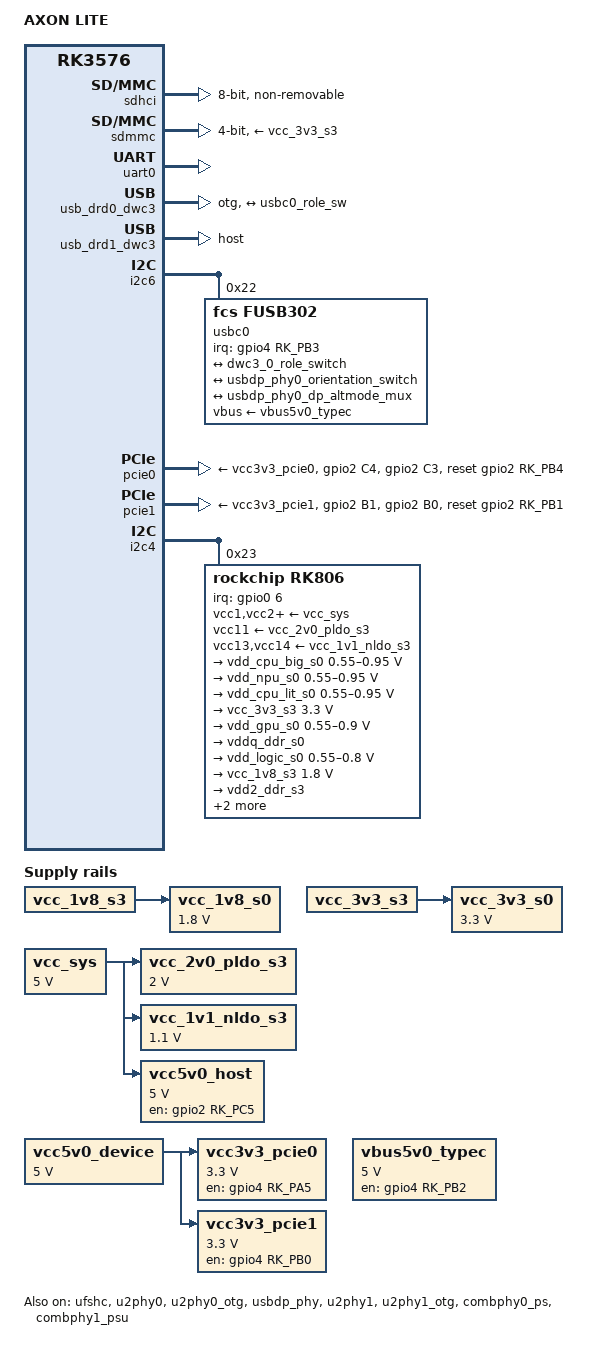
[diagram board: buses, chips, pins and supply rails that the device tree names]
// SPDX-License-Identifier: (GPL-2.0+ OR MIT)
/*
 * Copyright (c) 2026, Vicharak Computers PVT LTD.
 */

/dts-v1/;
#include <dt-bindings/gpio/gpio.h>
#include <dt-bindings/pinctrl/rockchip.h>
#include <dt-bindings/usb/pd.h>
#include "rk3576.dtsi"

/ {
	model = "AXON LITE";
	compatible = "vicharak,rk3576-axon-lite", "rockchip,rk3576";

	aliases {
		mmc0 = &sdhci;
		mmc1 = &sdmmc;
	};

	chosen {
		stdout-path = "serial0:1500000n8";
	};

	vcc_sys: vcc5v0-sys {
		compatible = "regulator-fixed";
		regulator-name = "vcc_sys";
		regulator-always-on;
		regulator-boot-on;
		regulator-min-microvolt = <5000000>;
		regulator-max-microvolt = <5000000>;
	};

	vcc_2v0_pldo_s3: vcc-2v0-pldo-s3 {
		compatible = "regulator-fixed";
		regulator-name = "vcc_2v0_pldo_s3";
		regulator-boot-on;
		regulator-always-on;
		regulator-min-microvolt = <2000000>;
		regulator-max-microvolt = <2000000>;
		vin-supply = <&vcc_sys>;
	};

	vcc_1v1_nldo_s3: vcc-1v1-nldo-s3 {
		compatible = "regulator-fixed";
		regulator-name = "vcc_1v1_nldo_s3";
		regulator-boot-on;
		regulator-always-on;
		regulator-min-microvolt = <1100000>;
		regulator-max-microvolt = <1100000>;
		vin-supply = <&vcc_sys>;
	};

	vcc_1v8_s0: vcc-1v8-s0 {
		compatible = "regulator-fixed";
		regulator-name = "vcc_1v8_s0";
		regulator-boot-on;
		regulator-always-on;
		regulator-min-microvolt = <1800000>;
		regulator-max-microvolt = <1800000>;
		vin-supply = <&vcc_1v8_s3>;
	};

	vcc_3v3_s0: vcc-3v3-s0 {
		compatible = "regulator-fixed";
		regulator-name = "vcc_3v3_s0";
		regulator-boot-on;
		regulator-always-on;
		regulator-min-microvolt = <3300000>;
		regulator-max-microvolt = <3300000>;
		vin-supply = <&vcc_3v3_s3>;
	};

	vcc5v0_host: vcc5v0-host {
		compatible = "regulator-fixed";
		regulator-name = "vcc5v0_host";
		regulator-boot-on;
		regulator-always-on;
		regulator-min-microvolt = <5000000>;
		regulator-max-microvolt = <5000000>;
		enable-active-high;
		gpio = <&gpio2 RK_PC5 GPIO_ACTIVE_HIGH>;
		pinctrl-names = "default";
		pinctrl-0 = <&usb_host_pwren>;
		vin-supply = <&vcc_sys>;
	};
	
	vcc5v0_device: vc5v0-device {
		compatible = "regulator-fixed";
		regulator-name = "vcc5v0_device";
		regulator-boot-on;
		regulator-always-on;
		regulator-min-microvolt = <5000000>;
		regulator-max-microvolt = <5000000>;
	};

	vcc3v3_pcie0: vcc3v3-pcie0 {
		compatible = "regulator-fixed";
		regulator-name = "vcc3v3_pcie0";
		regulator-min-microvolt = <3300000>;
		regulator-max-microvolt = <3300000>;
		enable-active-high;
		gpios = <&gpio4 RK_PA5 GPIO_ACTIVE_HIGH>;
		regulator-boot-on;
		regulator-always-on;
		vin-supply = <&vcc5v0_device>;

    };

	vcc3v3_pcie1: vcc3v3-pcie1 {
		compatible = "regulator-fixed";
		regulator-name = "vcc3v3_pcie1";
		regulator-min-microvolt = <3300000>;
		regulator-max-microvolt = <3300000>;
		enable-active-high;
		gpios = <&gpio4 RK_PB0 GPIO_ACTIVE_HIGH>;
		regulator-boot-on;
		regulator-always-on;
		vin-supply = <&vcc5v0_device>;
	};

	vbus5v0_typec: vbus5v0-typec {
		compatible = "regulator-fixed";
		regulator-name = "vbus5v0_typec";
		regulator-min-microvolt = <5000000>;
		regulator-max-microvolt = <5000000>;
		enable-active-high;
		gpio = <&gpio4 RK_PB2 GPIO_ACTIVE_HIGH>;
		pinctrl-names = "default";
		pinctrl-0 = <&usb_otg0_pwren>;
	};
};

&sdhci {
	bus-width = <8>;
	no-sdio;
	no-sd;
	non-removable;
	//cap-mmc-highspeed;
	max-frequency = <200000000>;
	mmc-hs400-1_8v;
	mmc-hs400-enhanced-strobe;
	status = "okay";
};

&sdmmc {
	bus-width = <4>;
	cap-sd-highspeed;
	disable-wp;
	no-sdio;
	no-mmc;
	sd-uhs-sdr104;
	vmmc-supply = <&vcc_3v3_s3>;
	vqmmc-supply = <&vccio_sd_s0>;
	status = "okay";
};

&ufshc {
	status = "okay";
	reset-gpios = <&gpio4 RK_PD0 GPIO_ACTIVE_HIGH>;
};

&uart0 {
	pinctrl-names = "default";
	pinctrl-0 = <&uart0m0_xfer>;
	status = "okay";
};

&u2phy0 {
	status = "okay";
};

&u2phy0_otg {
	status = "okay";
};

&usbdp_phy {
	status = "okay";
	orientation-switch;
	svid = <0xff01>;
	sbu1-dc-gpios = <&gpio4 RK_PC4 GPIO_ACTIVE_HIGH>;
	sbu2-dc-gpios = <&gpio4 RK_PC5 GPIO_ACTIVE_HIGH>;

	port {
		#address-cells = <1>;
		#size-cells = <0>;
		usbdp_phy0_orientation_switch: endpoint@0 {
			reg = <0>;
			remote-endpoint = <&usbc0_orien_sw>;
		};

		usbdp_phy0_dp_altmode_mux: endpoint@1 {
			reg = <1>;
			remote-endpoint = <&dp_altmode_mux>;
		};
	};
};

&usb_drd0_dwc3 {
	status = "okay";
	dr_mode = "otg";
	usb-role-switch;

	port {
		#address-cells = <1>;
		#size-cells = <0>;
		dwc3_0_role_switch: endpoint@0 {
			reg = <0>;
			remote-endpoint = <&usbc0_role_sw>;
		};
	};
};

&u2phy1 {
	status = "okay";
};

&u2phy1_otg {
	phy-supply = <&vcc5v0_host>;
	status = "okay";
};

&usb_drd1_dwc3 {
	status = "okay";
	dr_mode = "host";
};

&i2c6 {
	status = "okay";

	usbc0: fusb302@22 {
		compatible = "fcs,fusb302";
		reg = <0x22>;
		interrupt-parent = <&gpio4>;
		interrupts = <RK_PB3 IRQ_TYPE_LEVEL_LOW>;
		pinctrl-names = "default";
		pinctrl-0 = <&usbc0_int>;
		vbus-supply = <&vbus5v0_typec>;
		status = "okay";
        
		ports {
			#address-cells = <1>;
			#size-cells = <0>;

			port@0 {
				reg = <0>;
				#address-cells = <1>;
				#size-cells = <0>;
				usbc0_role_sw: endpoint@0 {
					reg = <0>;
					remote-endpoint = <&dwc3_0_role_switch>;
				};
			};
			port@1 {
				reg = <1>;
				#address-cells = <1>;
				#size-cells = <0>;
				usbc0_orien_sw: endpoint@0 {
					reg = <0>;
					remote-endpoint = <&usbdp_phy0_orientation_switch>;
				};
			};
			port@2 {
				reg = <2>;
				#address-cells = <1>;
				#size-cells = <0>;
				dp_altmode_mux: endpoint@1 {
					reg = <1>;
					remote-endpoint = <&usbdp_phy0_dp_altmode_mux>;
				};
			};
		};
	};
};

&combphy0_ps {
	rockchip,pipe-grf = <&php_grf>;
	status = "okay";

};

&combphy1_psu {
	status = "okay";
	rockchip,pipe-grf = <&php_grf>;
};

&pcie0 {
	pinctrl-names = "default";
	pinctrl-0 = <&pcie0_rst &pcie0m0_pins &pcie0_wake>;
	reset-gpios = <&gpio2 RK_PB4 GPIO_ACTIVE_HIGH>;
	rockchip,skip-scan-in-resume;
	vpcie3v3-supply = <&vcc3v3_pcie0>;
	status = "okay";
};

&pcie1 {
	pinctrl-names = "default";
	pinctrl-0 = <&pcie1_rst &pcie1m0_pins &pcie1_wake>;
	reset-gpios = <&gpio2 RK_PB1 GPIO_ACTIVE_HIGH>;
	vpcie3v3-supply = <&vcc3v3_pcie1>;
	rockchip,skip-scan-in-resume;
	status = "okay";
};

&pinctrl {
	usb {
		usb_host_pwren: usb-host-pwren {
			rockchip,pins = <2 RK_PC5 RK_FUNC_GPIO &pcfg_pull_none>;
		};
		usb_otg0_pwren: usb-otg0-pwren {
			rockchip,pins = <4 RK_PB2 RK_FUNC_GPIO &pcfg_pull_none>;
		};
		usbc0_int: usbc0-int {
			rockchip,pins = <4 RK_PB3 RK_FUNC_GPIO &pcfg_pull_up>;
		};
	};
	
	pcie0 {
        pcie0_rst: pcie0-rst {
			rockchip,pins =
				<2 RK_PC4 RK_FUNC_GPIO &pcfg_pull_none>;
		};

		pcie0_wake: pcie0-wake {
			rockchip,pins =
				<2 RK_PC3 RK_FUNC_GPIO &pcfg_pull_none>;
		};

	};

	pcie1 {
		pcie1_rst: pcie1-rst {
			rockchip,pins =
				<2 RK_PB1 RK_FUNC_GPIO &pcfg_pull_none>;
		};

		pcie1_wake: pcie1-wake {
			rockchip,pins =
				<2 RK_PB0 RK_FUNC_GPIO &pcfg_pull_none>;
		};
	};
};

&i2c4 {
	status = "okay";

	rk806: pmic@23 {
		compatible = "rockchip,rk806";
		reg = <0x23>;

		interrupt-parent = <&gpio0>;
		interrupts = <6 IRQ_TYPE_LEVEL_LOW>;

		pinctrl-names = "default", "pmic-power-off";
		pinctrl-0 = <&pmic_pins>, <&rk806_dvs1_null>, <&rk806_dvs2_null>, <&rk806_dvs3_null>;
		pinctrl-1 = <&rk806_dvs1_pwrdn>;

		/* 2800mv-3500mv */
		low_voltage_threshold = <3000>;
		/* 2700mv-3400mv */
		shutdown_voltage_threshold = <2700>;
		/* 140 160 */
		shutdown_temperture_threshold = <160>;
		hotdie_temperture_threshold = <115>;
		/* shutdown sequence */
		shutdown-sequence = <2 2 2 0 2 0 2 1 1 2
					2 2 2 2 2
					1 0 0 0 0 2>;

		/* low power forced shutdown sequence */
		vb-shutdown-sequence = <2 2 2 0 2 0 2 0 0 2
					2 2 2 2 2
					0 0 0 0 0 2>;

		/* 0: restart PMU;
		 * 1: reset all the power off reset registers,
		 *    forcing the state to switch to ACTIVE mode;
		 * 2: Reset all the power off reset registers,
		 *    forcing the state to switch to ACTIVE mode,
		 *    and simultaneously pull down the RESETB PIN for 5mS before releasing
		 */
		pmic-reset-func = <1>;
		/* buck5 external feedback resister disable */
		buck5-feedback-disable;

		vcc1-supply = <&vcc_sys>;
		vcc2-supply = <&vcc_sys>;
		vcc3-supply = <&vcc_sys>;
		vcc4-supply = <&vcc_sys>;
		vcc5-supply = <&vcc_sys>;
		vcc6-supply = <&vcc_sys>;
		vcc7-supply = <&vcc_sys>;
		vcc8-supply = <&vcc_sys>;
		vcc9-supply = <&vcc_sys>;
		vcc10-supply = <&vcc_sys>;
		vcc11-supply = <&vcc_2v0_pldo_s3>;
		vcc12-supply = <&vcc_sys>;
		vcc13-supply = <&vcc_1v1_nldo_s3>;
		vcc14-supply = <&vcc_1v1_nldo_s3>;
		vcca-supply = <&vcc_sys>;

		pwrkey {
			status = "okay";
		};

		pinctrl_rk806: pinctrl_rk806 {
			gpio-controller;
			#gpio-cells = <2>;

			rk806_dvs1_null: rk806_dvs1_null {
				pins = "gpio_pwrctrl2";
				function = "pin_fun0";
			};

			rk806_dvs1_slp: rk806_dvs1_slp {
				pins = "gpio_pwrctrl1";
				function = "pin_fun1";
			};

			rk806_dvs1_pwrdn: rk806_dvs1_pwrdn {
				pins = "gpio_pwrctrl1";
				function = "pin_fun2";
			};

			rk806_dvs1_rst: rk806_dvs1_rst {
				pins = "gpio_pwrctrl1";
				function = "pin_fun3";
			};

			rk806_dvs2_null: rk806_dvs2_null {
				pins = "gpio_pwrctrl2";
				function = "pin_fun0";
			};

			rk806_dvs2_slp: rk806_dvs2_slp {
				pins = "gpio_pwrctrl2";
				function = "pin_fun1";
			};

			rk806_dvs2_pwrdn: rk806_dvs2_pwrdn {
				pins = "gpio_pwrctrl2";
				function = "pin_fun2";
			};

			rk806_dvs2_rst: rk806_dvs2_rst {
				pins = "gpio_pwrctrl2";
				function = "pin_fun3";
			};

			rk806_dvs2_dvs: rk806_dvs2_dvs {
				pins = "gpio_pwrctrl2";
				function = "pin_fun4";
			};

			rk806_dvs2_gpio: rk806_dvs2_gpio {
				pins = "gpio_pwrctrl2";
				function = "pin_fun5";
			};

			rk806_dvs3_null: rk806_dvs3_null {
				pins = "gpio_pwrctrl3";
				function = "pin_fun0";
			};

			rk806_dvs3_slp: rk806_dvs3_slp {
				pins = "gpio_pwrctrl3";
				function = "pin_fun1";
			};

			rk806_dvs3_pwrdn: rk806_dvs3_pwrdn {
				pins = "gpio_pwrctrl3";
				function = "pin_fun2";
			};

			rk806_dvs3_rst: rk806_dvs3_rst {
				pins = "gpio_pwrctrl3";
				function = "pin_fun3";
			};

			rk806_dvs3_dvs: rk806_dvs3_dvs {
				pins = "gpio_pwrctrl3";
				function = "pin_fun4";
			};

			rk806_dvs3_gpio: rk806_dvs3_gpio {
				pins = "gpio_pwrctrl3";
				function = "pin_fun5";
			};
		};

		regulators {
			vdd_cpu_big_s0: DCDC_REG1 {
				regulator-always-on;
				regulator-boot-on;
				regulator-init-microvolt = <850000>;
				regulator-min-microvolt = <550000>;
				regulator-max-microvolt = <950000>;
				regulator-ramp-delay = <12500>;
				regulator-name = "vdd_cpu_big_s0";
				regulator-enable-ramp-delay = <400>;
				regulator-state-mem {
					regulator-off-in-suspend;
				};
			};

			vdd_npu_s0: DCDC_REG2 {
				regulator-boot-on;
				regulator-min-microvolt = <550000>;
				regulator-max-microvolt = <950000>;
				regulator-ramp-delay = <12500>;
				regulator-name = "vdd_npu_s0";
				regulator-enable-ramp-delay = <400>;
				regulator-state-mem {
					regulator-off-in-suspend;
				};
			};

			vdd_cpu_lit_s0: DCDC_REG3 {
				regulator-always-on;
				regulator-boot-on;
				regulator-init-microvolt = <850000>;
				regulator-min-microvolt = <550000>;
				regulator-max-microvolt = <950000>;
				regulator-ramp-delay = <12500>;
				regulator-name = "vdd_cpu_lit_s0";
				regulator-state-mem {
					regulator-off-in-suspend;
					regulator-suspend-microvolt = <750000>;
				};
			};

			vcc_3v3_s3: DCDC_REG4 {
				regulator-always-on;
				regulator-boot-on;
				regulator-min-microvolt = <3300000>;
				regulator-max-microvolt = <3300000>;
				regulator-name = "vcc_3v3_s3";
				regulator-state-mem {
					regulator-on-in-suspend;
					regulator-suspend-microvolt = <3300000>;
				};
			};

			vdd_gpu_s0: DCDC_REG5 {
				regulator-boot-on;
				regulator-init-microvolt = <750000>;
				regulator-min-microvolt = <550000>;
				regulator-max-microvolt = <900000>;
				regulator-ramp-delay = <12500>;
				regulator-name = "vdd_gpu_s0";
				regulator-enable-ramp-delay = <400>;
				regulator-state-mem {
					regulator-off-in-suspend;
					regulator-suspend-microvolt = <850000>;
				};
			};

			vddq_ddr_s0: DCDC_REG6 {
				regulator-always-on;
				regulator-boot-on;
				regulator-name = "vddq_ddr_s0";
				regulator-state-mem {
					regulator-off-in-suspend;
				};
			};

			vdd_logic_s0: vdd_log_mem_s0: DCDC_REG7 {
				regulator-always-on;
				regulator-boot-on;
				regulator-init-microvolt = <750000>;
				regulator-min-microvolt = <550000>;
				regulator-max-microvolt = <800000>;
				regulator-name = "vdd_logic_s0";
				regulator-state-mem {
					regulator-off-in-suspend;
				};
			};

			vcc_1v8_s3: DCDC_REG8 {
				regulator-always-on;
				regulator-boot-on;
				regulator-min-microvolt = <1800000>;
				regulator-max-microvolt = <1800000>;
				regulator-name = "vcc_1v8_s3";
				regulator-state-mem {
					regulator-on-in-suspend;
					regulator-suspend-microvolt = <1800000>;
				};
			};

			vdd2_ddr_s3: DCDC_REG9 {
				regulator-always-on;
				regulator-boot-on;
				regulator-name = "vdd2_ddr_s3";
				regulator-state-mem {
					regulator-on-in-suspend;
				};
			};

			vdd_ddr_s0: DCDC_REG10 {
				regulator-always-on;
				regulator-boot-on;
				regulator-min-microvolt = <550000>;
				regulator-max-microvolt = <1200000>;
				regulator-name = "vdd_ddr_s0";
				regulator-state-mem {
					regulator-off-in-suspend;
				};
			};

			vcca_1v8_s0: PLDO_REG1 {
				regulator-always-on;
				regulator-boot-on;
				regulator-min-microvolt = <1800000>;
				regulator-max-microvolt = <1800000>;
				regulator-name = "vcca_1v8_s0";
				regulator-state-mem {
					regulator-off-in-suspend;
				};
			};

			vcca1v8_pldo2_s0: PLDO_REG2 {
				regulator-always-on;
				regulator-boot-on;
				regulator-min-microvolt = <1800000>;
				regulator-max-microvolt = <1800000>;
				regulator-name = "vcca1v8_pldo2_s0";
				regulator-state-mem {
					regulator-off-in-suspend;
				};
			};

			vdda_1v2_s0: PLDO_REG3 {
				regulator-always-on;
				regulator-boot-on;
				regulator-min-microvolt = <1200000>;
				regulator-max-microvolt = <1200000>;
				regulator-name = "vdda_1v2_s0";
				regulator-state-mem {
					regulator-off-in-suspend;
				};
			};

			vcca_3v3_s0: PLDO_REG4 {
				regulator-always-on;
				regulator-boot-on;
				regulator-min-microvolt = <3300000>;
				regulator-max-microvolt = <3300000>;
				regulator-name = "vcca_3v3_s0";
				regulator-state-mem {
					regulator-off-in-suspend;
				};
			};

			vccio_sd_s0: PLDO_REG5 {
				regulator-always-on;
				regulator-boot-on;
				regulator-min-microvolt = <1800000>;
				regulator-max-microvolt = <3300000>;
				regulator-name = "vccio_sd_s0";
				regulator-state-mem {
					regulator-off-in-suspend;
				};
			};

			vcca1v8_pldo6_s3: PLDO_REG6 {
				regulator-always-on;
				regulator-boot-on;
				regulator-min-microvolt = <1800000>;
				regulator-max-microvolt = <1800000>;
				regulator-name = "vcca1v8_pldo6_s3";
				regulator-state-mem {
					regulator-on-in-suspend;
					regulator-suspend-microvolt = <1800000>;
				};
			};

			vdd_0v75_s3: NLDO_REG1 {
				regulator-always-on;
				regulator-boot-on;
				regulator-min-microvolt = <750000>;
				regulator-max-microvolt = <750000>;
				regulator-name = "vdd_0v75_s3";
				regulator-state-mem {
					regulator-on-in-suspend;
					regulator-suspend-microvolt = <750000>;
				};
			};

			vdda_ddr_pll_s0: NLDO_REG2 {
				regulator-always-on;
				regulator-boot-on;
				regulator-min-microvolt = <850000>;
				regulator-max-microvolt = <850000>;
				regulator-name = "vdda_ddr_pll_s0";
				regulator-state-mem {
					regulator-off-in-suspend;
				};
			};

			vdda0v75_hdmi_s0: NLDO_REG3 {
				regulator-always-on;
				regulator-boot-on;
				regulator-min-microvolt = <837500>;
				regulator-max-microvolt = <837500>;
				regulator-name = "vdda0v75_hdmi_s0";
				regulator-state-mem {
					regulator-off-in-suspend;
				};
			};

			vdda_0v85_s0: NLDO_REG4 {
				regulator-always-on;
				regulator-boot-on;
				regulator-min-microvolt = <850000>;
				regulator-max-microvolt = <850000>;
				regulator-name = "vdda_0v85_s0";
				regulator-state-mem {
					regulator-off-in-suspend;
				};
			};

			vdda_0v75_s0: NLDO_REG5 {
				regulator-always-on;
				regulator-boot-on;
				regulator-min-microvolt = <750000>;
				regulator-max-microvolt = <750000>;
				regulator-name = "vdda_0v75_s0";
				regulator-state-mem {
					regulator-off-in-suspend;
				};
			};
		};
	};

};
